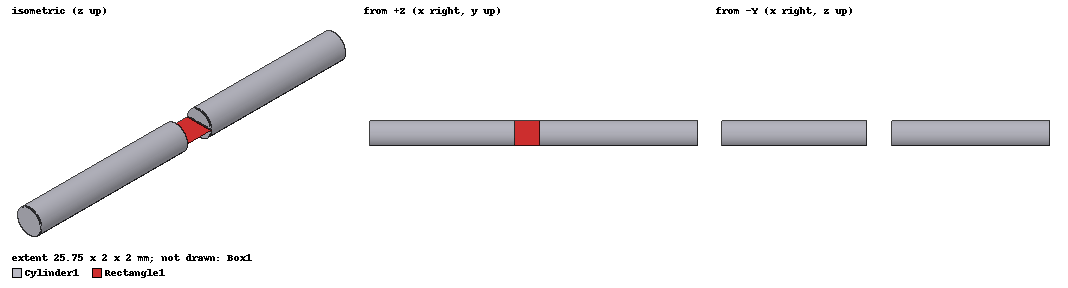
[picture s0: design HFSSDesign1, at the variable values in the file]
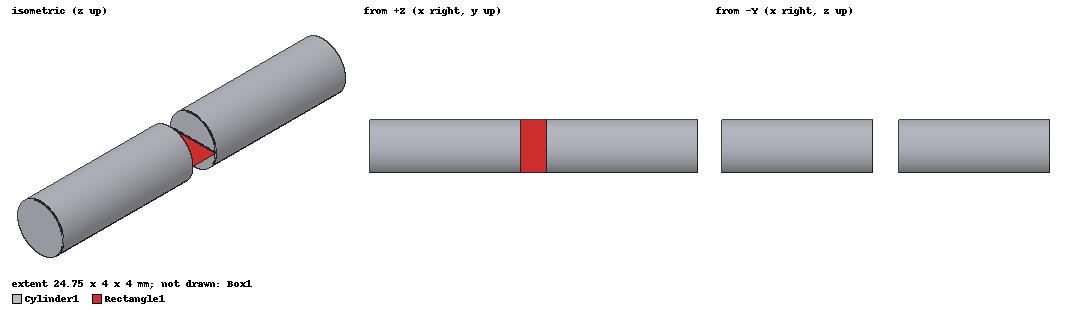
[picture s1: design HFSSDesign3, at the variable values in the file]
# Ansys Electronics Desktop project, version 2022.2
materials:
  vacuum: permittivity=1
  pec: conductivity=1e+30

design HFSSDesign1 (HFSS, DrivenModal, model units mm)
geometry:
  Cylinder1 [pec] = cylinder(axis=X, base_centre=(-12.37mm, 0mm, 0mm), radius=1mm, height=25.75mm)
  Cylinder2 = cylinder(axis=X, base_centre=(-1mm, 0mm, 0mm), radius=1mm, height=2mm)
  Cylinder1.subtract(Cylinder2)
  Rectangle1 = rectangle(corner=(-1mm, -1mm, 0mm), x_size=2mm, y_size=2mm)
  Box1 [vacuum] = box(corner=(-50mm, -15mm, -15mm), size=(100mm, 30mm, 30mm))
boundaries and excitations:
  Primary1: Primary Faces=Box1.face(+x) CoordSysVector{(50, 15, -15) -> (50, -15, -15)}
  Primary2: Primary Faces=Box1.face(+y) CoordSysVector{(-50, 15, -15) -> (50, 15, -15)}
  Rad1: Radiation Faces=Box1.face(+z)
  Secondary1: Secondary Faces=Box1.face(-x) CoordSysVector{(-50, 15, -15) -> (-50, -15, -15)} ReverseV primary=Primary1 PhaseDelay=UseScanAngle Phi=0deg Theta=0deg
  Secondary2: Secondary Faces=Box1.face(-y) CoordSysVector{(-50, -15, -15) -> (50, -15, -15)} ReverseV primary=Primary2 PhaseDelay=UseScanAngle Phi=0deg Theta=0deg
  Rad2: Radiation Faces=Box1.face(-z)
  1: Lumped Port Objects=Rectangle1 Modes{Mode1{IntLine{(1, 0, 0) -> (-1, 0, 0)} CharImp=Zpi RenormImp=50ohm}} Impedance=50ohm
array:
  Type=Regular Name=A UseAirObjects RowPrimaryBnd=Primary1 ColumnPrimaryBnd=Primary2 RowDimension=5 ColumnDimension=1 ShowCellNumber RenderType=0 Padding=1 PostProcessRow=1 PostProcessCol=1 ReferenceCSID=1
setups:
  Setup1: HfssDriven Frequency=5GHz MaxDeltaS=0.02 MaximumPasses=20 MinimumPasses=1 MinimumConvergedPasses=1 PercentRefinement=30 BasisOrder=1 PortAccuracy=2 DrivenSolverType="Direct Solver"
    sweep Sweep: 2.5GHz to 7.5GHz, 401 points; Type=Interpolating InterpTolerance=0.5 InterpMaxSolns=250 InterpUsePortImped=false PassivityErrorTolerance=0.0001
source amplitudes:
  1:1..1:5: 1W 0deg
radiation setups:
  Infinite Sphere1: Infinite Sphere Theta=0deg..180deg step 2deg Phi=-180deg..180deg step 2deg
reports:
  S Parameter Plot 1: dB(S(A[1,1]1,A[1,1]1)) vs Freq on Setup1 : Sweep; markers m1 at 5GHz, MY1 at y=-10.0571
  Gain Plot 1: dB(GainTotal) vs Phi, Theta on Setup1 : LastAdaptive, Infinite Sphere1 [Freq=5GHz]

design HFSSDesign3 (HFSS, DrivenModal, model units mm)
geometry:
  Cylinder1 [pec] = cylinder(axis=X, base_centre=(-12.37mm, 0mm, 0mm), radius=2mm, height=24.75mm)
  Rectangle1 = rectangle(corner=(-1mm, -2mm, 0mm), x_size=2mm, y_size=4mm)
  Box1 [vacuum] = box(corner=(-100mm, -25mm, -25mm), size=(200mm, 50mm, 50mm))
  Cylinder3 = cylinder(axis=X, base_centre=(-1mm, 0mm, 0mm), radius=2mm, height=2mm)
  Cylinder1.subtract(Cylinder3)
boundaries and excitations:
  Primary1: Primary Faces=Box1.face(+x) CoordSysVector{(100, 25, -25) -> (100, -25, -25)}
  Primary2: Primary Faces=Box1.face(+y) CoordSysVector{(-100, 25, -25) -> (100, 25, -25)}
  Rad1: Radiation Faces=Box1.face(+z)
  Secondary1: Secondary Faces=Box1.face(-x) CoordSysVector{(-100, 25, -25) -> (-100, -25, -25)} ReverseV primary=Primary1 PhaseDelay=UseScanAngle Phi=0deg Theta=0deg
  Secondary2: Secondary Faces=Box1.face(-y) CoordSysVector{(-100, -25, -25) -> (100, -25, -25)} ReverseV primary=Primary2 PhaseDelay=UseScanAngle Phi=0deg Theta=0deg
  Rad2: Radiation Faces=Box1.face(-z)
  2: Lumped Port Objects=Rectangle1 Modes{Mode1{IntLine{(-1, 0, 0) -> (1, 0, 0)} CharImp=Zpi RenormImp=50ohm}} Impedance=50ohm
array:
  Type=Regular Name=A UseAirObjects RowPrimaryBnd=Primary1 ColumnPrimaryBnd=Primary2 RowDimension=5 ColumnDimension=1 ShowCellNumber RenderType=0 Padding=1 PostProcessRow=1 PostProcessCol=1 ReferenceCSID=1
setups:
  Setup1: HfssDriven Frequency=5GHz MaxDeltaS=0.02 MaximumPasses=20 MinimumPasses=1 MinimumConvergedPasses=1 PercentRefinement=30 BasisOrder=1 PortAccuracy=2 DrivenSolverType="Direct Solver"
    sweep Sweep: 2.5GHz to 7.5GHz, 401 points; Type=Interpolating InterpTolerance=0.5 InterpMaxSolns=250 InterpUsePortImped=false PassivityErrorTolerance=0.0001
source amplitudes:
  2:1..2:5: 1W 0deg
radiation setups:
  Infinite Sphere1: Infinite Sphere Theta=0deg..180deg step 2deg Phi=-180deg..180deg step 2deg
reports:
  Gain Plot 1: dB(GainTotal) vs Phi, Theta on Setup1 : LastAdaptive, Infinite Sphere1 [Freq=5GHz]
  S Parameter Plot 3: dB(S(A[1,1]2,A[1,1]2)) vs Freq on Setup1 : Sweep
